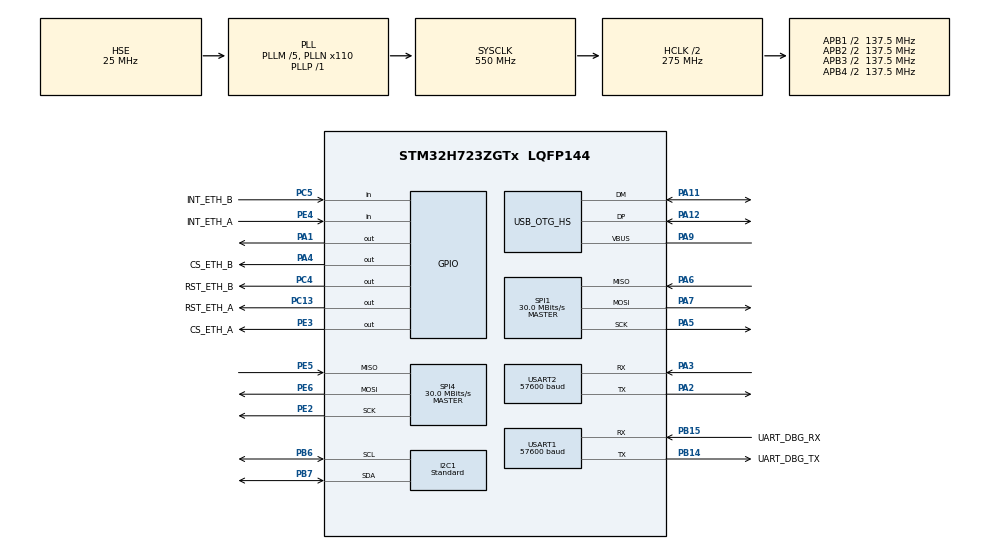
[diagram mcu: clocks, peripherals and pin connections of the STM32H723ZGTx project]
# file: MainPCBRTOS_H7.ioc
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Dma.Request0=USART2_RX
Dma.USART2_RX.0.Direction=DMA_PERIPH_TO_MEMORY
Dma.USART2_RX.0.EventEnable=DISABLE
Dma.USART2_RX.0.FIFOMode=DMA_FIFOMODE_DISABLE
Dma.USART2_RX.0.Instance=DMA1_Stream0
Dma.USART2_RX.0.MemDataAlignment=DMA_MDATAALIGN_BYTE
Dma.USART2_RX.0.MemInc=DMA_MINC_ENABLE
Dma.USART2_RX.0.Mode=DMA_NORMAL
Dma.USART2_RX.0.PeriphDataAlignment=DMA_PDATAALIGN_BYTE
Dma.USART2_RX.0.PeriphInc=DMA_PINC_DISABLE
Dma.USART2_RX.0.Polarity=HAL_DMAMUX_REQ_GEN_RISING
Dma.USART2_RX.0.Priority=DMA_PRIORITY_LOW
Dma.USART2_RX.0.RequestNumber=1
Dma.USART2_RX.0.SignalID=NONE
Dma.USART2_RX.0.SyncEnable=DISABLE
Dma.USART2_RX.0.SyncPolarity=HAL_DMAMUX_SYNC_NO_EVENT
Dma.USART2_RX.0.SyncRequestNumber=1
Dma.USART2_RX.0.SyncSignalID=NONE
FREERTOS.Tasks01=Idle,-3,128,startIdle,Default,NULL,Dynamic,NULL,NULL;LMS,3,8196,startLMS,Default,NULL,Dynamic,NULL,NULL;Humidity,0,512,startHumidity,Default,NULL,Dynamic,NULL,NULL;IO,1,8196,startIO,Default,NULL,Dynamic,NULL,NULL
FREERTOS.configENABLE_FPU=1
FREERTOS.configTOTAL_HEAP_SIZE=80000
FREERTOS.configUSE_NEWLIB_REENTRANT=1
I2C1.I2C_Speed_Mode=I2C_Standard
I2C1.Speed=100
I2C1.Timing=0x20303E5D
IWDG1.Prescaler=IWDG_PRESCALER_256
IWDG1.Reload=1249
IWDG1.Window=1249
Mcu.Family=STM32H7
Mcu.Name=STM32H723ZGTx
Mcu.Package=LQFP144
NVIC.DMA1_Stream0_IRQn=true\:5\:0\:false\:false\:true\:true\:false\:true\:true
NVIC.PriorityGroup=NVIC_PRIORITYGROUP_4
PA1.Signal=GPIO_Output
PA11.Mode=Device_Only_FS
PA11.Signal=USB_OTG_HS_DM
PA12.Mode=Device_Only_FS
PA12.Signal=USB_OTG_HS_DP
PA13(JTMS/SWDIO).Mode=JTAG_5_pins
PA13(JTMS/SWDIO).Signal=DEBUG_JTMS-SWDIO
PA14(JTCK/SWCLK).Mode=JTAG_5_pins
PA14(JTCK/SWCLK).Signal=DEBUG_JTCK-SWCLK
PA15(JTDI).Mode=JTAG_5_pins
PA15(JTDI).Signal=DEBUG_JTDI
PA2.Mode=Asynchronous
PA2.Signal=USART2_TX
PA3.Mode=Asynchronous
PA3.Signal=USART2_RX
PA4.GPIO_Label=CS_ETH_B
PA4.PinState=GPIO_PIN_SET
PA4.Signal=GPIO_Output
PA5.Mode=Full_Duplex_Master
PA5.Signal=SPI1_SCK
PA6.Mode=Full_Duplex_Master
PA6.Signal=SPI1_MISO
PA7.Mode=Full_Duplex_Master
PA7.Signal=SPI1_MOSI
PA9.Mode=Activate_VBUS_FS
PA9.Signal=USB_OTG_HS_VBUS
PB14.GPIO_Label=UART_DBG_TX
PB14.Mode=Asynchronous
PB14.Signal=USART1_TX
PB15.GPIO_Label=UART_DBG_RX
PB15.Mode=Asynchronous
PB15.Signal=USART1_RX
PB3(JTDO/TRACESWO).Mode=JTAG_5_pins
PB3(JTDO/TRACESWO).Signal=DEBUG_JTDO-SWO
PB4(NJTRST).Mode=JTAG_5_pins
PB4(NJTRST).Signal=DEBUG_JTRST
PB6.Mode=I2C
PB6.Signal=I2C1_SCL
PB7.Mode=I2C
PB7.Signal=I2C1_SDA
PC13.GPIO_Label=RST_ETH_A
PC13.PinState=GPIO_PIN_SET
PC13.Signal=GPIO_Output
PC14-OSC32_IN.Mode=LSE-External-Oscillator
PC14-OSC32_IN.Signal=RCC_OSC32_IN
PC15-OSC32_OUT.Mode=LSE-External-Oscillator
PC15-OSC32_OUT.Signal=RCC_OSC32_OUT
PC4.GPIO_Label=RST_ETH_B
PC4.PinState=GPIO_PIN_SET
PC4.Signal=GPIO_Output
PC5.GPIO_Label=INT_ETH_B
PC5.Signal=GPIO_Input
PE2.Mode=Full_Duplex_Master
PE2.Signal=SPI4_SCK
PE3.GPIO_Label=CS_ETH_A
PE3.PinState=GPIO_PIN_SET
PE3.Signal=GPIO_Output
PE4.GPIO_Label=INT_ETH_A
PE4.Signal=GPIO_Input
PE5.Mode=Full_Duplex_Master
PE5.Signal=SPI4_MISO
PE6.Mode=Full_Duplex_Master
PE6.Signal=SPI4_MOSI
PH0-OSC_IN.Mode=HSE-External-Oscillator
PH0-OSC_IN.Signal=RCC_OSC_IN
PH1-OSC_OUT.Mode=HSE-External-Oscillator
PH1-OSC_OUT.Signal=RCC_OSC_OUT
ProjectManager.HeapSize=0x200
ProjectManager.StackSize=0x400
ProjectManager.TargetToolchain=STM32CubeIDE
RCC.ADCFreq_Value=150000000
RCC.APB1Freq_Value=137500000
RCC.APB2Freq_Value=137500000
RCC.APB3Freq_Value=137500000
RCC.APB4Freq_Value=137500000
RCC.CortexFreq_Value=550000000
RCC.D1PPRE=RCC_APB3_DIV2
RCC.D2PPRE1=RCC_APB1_DIV2
RCC.D2PPRE2=RCC_APB2_DIV2
RCC.D3PPRE=RCC_APB4_DIV2
RCC.DIVM1=5
RCC.DIVM2=5
RCC.DIVM3=5
RCC.DIVN1=110
RCC.DIVN2=60
RCC.DIVN3=48
RCC.DIVP1=1
RCC.DIVR3=5
RCC.EnbaleCSS=true
RCC.HCLKFreq_Value=275000000
RCC.HPRE=RCC_HCLK_DIV2
RCC.I2C123CLockSelection=RCC_I2C1235CLKSOURCE_PLL3
RCC.PLLSourceVirtual=RCC_PLLSOURCE_HSE
RCC.RCC_RTC_Clock_Source_FROM_HSE=RCC_RTCCLKSOURCE_HSE_DIV5
RCC.SPI123CLockSelection=RCC_SPI123CLKSOURCE_PLL3
RCC.SYSCLKFreq_VALUE=550000000
RCC.SYSCLKSource=RCC_SYSCLKSOURCE_PLLCLK
RCC.Spi45ClockSelection=RCC_SPI45CLKSOURCE_PLL3
RCC.USBCLockSelection=RCC_USBCLKSOURCE_PLL3
RCC.USBFreq_Value=120000000
RTC.Format=RTC_FORMAT_BIN
RTC.StoreOperation=RTC_STOREOPERATION_RESET
SPI1.BaudRatePrescaler=SPI_BAUDRATEPRESCALER_4
SPI1.CalculateBaudRate=30.0 MBits/s
SPI1.DataSize=SPI_DATASIZE_8BIT
SPI1.Direction=SPI_DIRECTION_2LINES
SPI1.Mode=SPI_MODE_MASTER
SPI1.VirtualType=VM_MASTER
SPI4.BaudRatePrescaler=SPI_BAUDRATEPRESCALER_4
SPI4.CalculateBaudRate=30.0 MBits/s
SPI4.DataSize=SPI_DATASIZE_8BIT
SPI4.Direction=SPI_DIRECTION_2LINES
SPI4.Mode=SPI_MODE_MASTER
SPI4.VirtualType=VM_MASTER
USART1.BaudRate=57600
USART1.VirtualMode-Asynchronous=VM_ASYNC
USART2.BaudRate=57600
USART2.RxPinLevelInvertParam=ADVFEATURE_RXINV_DISABLE
USART2.VirtualMode-Asynchronous=VM_ASYNC
USB_OTG_HS.VirtualMode-Device_Only_FS=Device_Only_FS
VP_FREERTOS_VS_CMSIS_V1.Mode=CMSIS_V1
VP_IWDG1_VS_IWDG.Mode=IWDG_Activate
VP_RTC_VS_RTC_Activate.Mode=RTC_Enabled
VP_RTC_VS_RTC_Calendar.Mode=RTC_Calendar
board=custom

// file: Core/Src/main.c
/* USER CODE BEGIN Header */
/**
 ******************************************************************************
 * @file           : main.c
 * @brief          : Main program body
 ******************************************************************************
 * @attention
 *
 * Copyright (c) 2023 STMicroelectronics.
 * All rights reserved.
 *
 * This software is licensed under terms that can be found in the LICENSE file
 * in the root directory of this software component.
 * If no LICENSE file comes with this software, it is provided AS-IS.
 *
 ******************************************************************************
 */
/* USER CODE END Header */
#include "main.h"
#include "cmsis_os.h"
#include "dma.h"
#include "i2c.h"
#include "iwdg.h"
#include "rtc.h"
#include "spi.h"
#include "usart.h"
#include "usb_otg.h"
#include "gpio.h"

/* USER CODE BEGIN Includes */
#include "defines.h"
#include "variables.h"
#include "socket.h"
#include "wizchip_conf.h"
#include "w5500.h"
#include "w5500_spi.h"
#include <string.h>
#include <stdio.h>
#include <stdlib.h>
#include <math.h>
/* USER CODE END Includes */

/* USER CODE BEGIN PTD */
HAL_StatusTypeDef ret;
/* USER CODE END PTD */

void SystemClock_Config(void);
void PeriphCommonClock_Config(void);
void MX_FREERTOS_Init(void);

int main(void)
{

  /* MCU Configuration--------------------------------------------------------*/

  /* Reset of all peripherals, Initializes the Flash interface and the Systick. */
  HAL_Init();

  /* Configure the system clock */
  SystemClock_Config();

/* Configure the peripherals common clocks */
  PeriphCommonClock_Config();

  /* Initialize all configured peripherals */
  MX_GPIO_Init();
  MX_DMA_Init();
  MX_USART1_UART_Init();
  MX_USART2_UART_Init();
  MX_I2C1_Init();
  MX_SPI1_Init();
  MX_IWDG1_Init();
  MX_RTC_Init();
  MX_SPI4_Init();
  MX_USB_OTG_HS_PCD_Init();

  /* Call init function for freertos objects (in freertos.c) */
  MX_FREERTOS_Init();

  /* Start scheduler */
  osKernelStart();
  /* We should never get here as control is now taken by the scheduler */
  /* Infinite loop */
	while (1)
	{

	}
}

void SystemClock_Config(void)
{
  RCC_OscInitTypeDef RCC_OscInitStruct = {0};
  RCC_ClkInitTypeDef RCC_ClkInitStruct = {0};

  /** Supply configuration update enable
  */
  HAL_PWREx_ConfigSupply(PWR_LDO_SUPPLY);

  /** Configure the main internal regulator output voltage
  */
  __HAL_PWR_VOLTAGESCALING_CONFIG(PWR_REGULATOR_VOLTAGE_SCALE0);

  while(!__HAL_PWR_GET_FLAG(PWR_FLAG_VOSRDY)) {}

  /** Initializes the RCC Oscillators according to the specified parameters
  * in the RCC_OscInitTypeDef structure.
  */
  RCC_OscInitStruct.OscillatorType = RCC_OSCILLATORTYPE_LSI|RCC_OSCILLATORTYPE_HSE;
  RCC_OscInitStruct.HSEState = RCC_HSE_ON;
  RCC_OscInitStruct.LSIState = RCC_LSI_ON;
  RCC_OscInitStruct.PLL.PLLState = RCC_PLL_ON;
  RCC_OscInitStruct.PLL.PLLSource = RCC_PLLSOURCE_HSE;
  RCC_OscInitStruct.PLL.PLLM = 5;
  RCC_OscInitStruct.PLL.PLLN = 110;
  RCC_OscInitStruct.PLL.PLLP = 1;
  RCC_OscInitStruct.PLL.PLLQ = 2;
  RCC_OscInitStruct.PLL.PLLR = 2;
  RCC_OscInitStruct.PLL.PLLRGE = RCC_PLL1VCIRANGE_2;
  RCC_OscInitStruct.PLL.PLLVCOSEL = RCC_PLL1VCOWIDE;
  RCC_OscInitStruct.PLL.PLLFRACN = 0;
  if (HAL_RCC_OscConfig(&RCC_OscInitStruct) != HAL_OK)
  {
    Error_Handler();
  }

  /** Initializes the CPU, AHB and APB buses clocks
  */
  RCC_ClkInitStruct.ClockType = RCC_CLOCKTYPE_HCLK|RCC_CLOCKTYPE_SYSCLK
                              |RCC_CLOCKTYPE_PCLK1|RCC_CLOCKTYPE_PCLK2
                              |RCC_CLOCKTYPE_D3PCLK1|RCC_CLOCKTYPE_D1PCLK1;
  RCC_ClkInitStruct.SYSCLKSource = RCC_SYSCLKSOURCE_PLLCLK;
  RCC_ClkInitStruct.SYSCLKDivider = RCC_SYSCLK_DIV1;
  RCC_ClkInitStruct.AHBCLKDivider = RCC_HCLK_DIV2;
  RCC_ClkInitStruct.APB3CLKDivider = RCC_APB3_DIV2;
  RCC_ClkInitStruct.APB1CLKDivider = RCC_APB1_DIV2;
  RCC_ClkInitStruct.APB2CLKDivider = RCC_APB2_DIV2;
  RCC_ClkInitStruct.APB4CLKDivider = RCC_APB4_DIV2;

  if (HAL_RCC_ClockConfig(&RCC_ClkInitStruct, FLASH_LATENCY_3) != HAL_OK)
  {
    Error_Handler();
  }

  /** Enables the Clock Security System
  */
  HAL_RCC_EnableCSS();
}

void PeriphCommonClock_Config(void)
{
  RCC_PeriphCLKInitTypeDef PeriphClkInitStruct = {0};

  /** Initializes the peripherals clock
  */
  PeriphClkInitStruct.PeriphClockSelection = RCC_PERIPHCLK_USB|RCC_PERIPHCLK_I2C1
                              |RCC_PERIPHCLK_SPI1|RCC_PERIPHCLK_SPI4;
  PeriphClkInitStruct.PLL3.PLL3M = 5;
  PeriphClkInitStruct.PLL3.PLL3N = 48;
  PeriphClkInitStruct.PLL3.PLL3P = 2;
  PeriphClkInitStruct.PLL3.PLL3Q = 2;
  PeriphClkInitStruct.PLL3.PLL3R = 5;
  PeriphClkInitStruct.PLL3.PLL3RGE = RCC_PLL3VCIRANGE_2;
  PeriphClkInitStruct.PLL3.PLL3VCOSEL = RCC_PLL3VCOWIDE;
  PeriphClkInitStruct.PLL3.PLL3FRACN = 0;
  PeriphClkInitStruct.Spi123ClockSelection = RCC_SPI123CLKSOURCE_PLL3;
  PeriphClkInitStruct.Spi45ClockSelection = RCC_SPI45CLKSOURCE_PLL3;
  PeriphClkInitStruct.I2c123ClockSelection = RCC_I2C1235CLKSOURCE_PLL3;
  PeriphClkInitStruct.UsbClockSelection = RCC_USBCLKSOURCE_PLL3;
  if (HAL_RCCEx_PeriphCLKConfig(&PeriphClkInitStruct) != HAL_OK)
  {
    Error_Handler();
  }
}

/* USER CODE BEGIN 4 */
void HAL_UART_RxCpltCallback(UART_HandleTypeDef *huart){
	if(MEASdata_B[0] == 0x0){
		for(short x = 0; x < sizeof(MEASdata_B); x++){
			MEASdata_B[x] = MEASdata_B[x+1];
		}
	}
	sscanf(MEASdata_B, "%[^,]", MEASrecv);
	if((strcmp((char *)MEASrecv, "#MU") == 0))
		sscanf(MEASdata_B, "#MU,%f,%f,%f,%d", &measAmpMax, &measFreq, &measTemp, &humAlertTwo);
	HAL_UART_Receive_DMA(&huart2, (uint8_t *)&MEASdata_B, sizeof(MEASdata_B));
	bzero(MEASdata_B, sizeof(MEASdata_B));
}
/* USER CODE END 4 */

void Error_Handler(void)
{
	__disable_irq();
	while (1)
	{
	}
}

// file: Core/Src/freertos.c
/* USER CODE BEGIN Header */
/**
 ******************************************************************************
 * File Name          : freertos.c
 * Description        : Code for freertos applications
 ******************************************************************************
 * @attention
 *
 * Copyright (c) 2023 STMicroelectronics.
 * All rights reserved.
 *
 * This software is licensed under terms that can be found in the LICENSE file
 * in the root directory of this software component.
 * If no LICENSE file comes with this software, it is provided AS-IS.
 *
 ******************************************************************************
 */
/* USER CODE END Header */

#include "FreeRTOS.h"
#include "task.h"
#include "main.h"
#include "cmsis_os.h"

/* USER CODE BEGIN Includes */
#include "defines.h"
#include "variables.h"
#include "LMS.h"
#include "IO.h"
#include "socket.h"
#include "wizchip_conf.h"
#include "w5500.h"
#include "w5500_spi.h"
#include "FLASH_SECTOR_H7.h"
#include <string.h>
#include <stdio.h>
#include <stdlib.h>
#include <math.h>
/* USER CODE END Includes */

/* USER CODE BEGIN PTD */
extern struct rock rck[MAXROCKS];
extern struct rockBuf rckBuf[MAXROCKS];

extern RTC_TimeTypeDef gTime;
extern RTC_DateTypeDef gDate;
/* USER CODE END PTD */

osThreadId IdleHandle;
osThreadId LMSHandle;
osThreadId HumidityHandle;
osThreadId IOHandle;

void startIdle(void const * argument);
void startLMS(void const * argument);
void startHumidity(void const * argument);
void startIO(void const * argument);

void MX_FREERTOS_Init(void); /* (MISRA C 2004 rule 8.1) */

/* GetIdleTaskMemory prototype (linked to static allocation support) */
void vApplicationGetIdleTaskMemory( StaticTask_t **ppxIdleTaskTCBBuffer, StackType_t **ppxIdleTaskStackBuffer, uint32_t *pulIdleTaskStackSize );

/* USER CODE BEGIN GET_IDLE_TASK_MEMORY */
static StaticTask_t xIdleTaskTCBBuffer;
static StackType_t xIdleStack[configMINIMAL_STACK_SIZE];

void vApplicationGetIdleTaskMemory( StaticTask_t **ppxIdleTaskTCBBuffer, StackType_t **ppxIdleTaskStackBuffer, uint32_t *pulIdleTaskStackSize )
{
	*ppxIdleTaskTCBBuffer = &xIdleTaskTCBBuffer;
	*ppxIdleTaskStackBuffer = &xIdleStack[0];
	*pulIdleTaskStackSize = configMINIMAL_STACK_SIZE;
	/* place for user code */
}
/* USER CODE END GET_IDLE_TASK_MEMORY */

void MX_FREERTOS_Init(void) {
	/* USER CODE BEGIN Init */
	//Start UART
	HAL_UART_Receive_DMA(&huart2, (uint8_t *)&MEASdata_B, sizeof(MEASdata_B));

	//Recover parameters from flash memory
	Flash_Read_Data((uint32_t)FLASH_SPEED, (uint32_t *)&flashRead, 1);
	speed = flashRead[0];
	Flash_Read_Data((uint32_t)FLASH_OUTPUT, (uint32_t *)&flashRead, 1);
	output = flashRead[0];

	//Initialise the W5500 Ethernet controller
	W5500Init();
	HAL_Delay(2000);

	//Initialise humidity module
	if((ret = HAL_I2C_IsDeviceReady(&hi2c1, SHT31_ADDR, 1, HAL_MAX_DELAY)) != HAL_OK){
		//error handler
		for(;;);
	}

	reg_wizchip_cs_cbfunc(LMS_select, LMS_deselect);
	LMS_getDevice();
	LMS_getOutputRange();
	LMS_getFrequencyResolution();

	//Initialise io-server UDP coms
	reg_wizchip_cs_cbfunc(IO_select, IO_deselect);
	if(IO_openSocket() != 0)
		for(;;);
	HAL_Delay(500);
	IO_sendConfiguredParameters();
	IO_close(); //Empty buffer
	HAL_IWDG_Refresh(&hiwdg1);
	/* USER CODE END Init */

	/* Create the thread(s) */
	/* definition and creation of Idle */
	osThreadDef(Idle, startIdle, osPriorityIdle, 0, 128);
	IdleHandle = osThreadCreate(osThread(Idle), NULL);

	/* definition and creation of LMS */
	osThreadDef(LMS, startLMS, osPriorityRealtime, 0, 8196);
	LMSHandle = osThreadCreate(osThread(LMS), NULL);

	/* definition and creation of Humidity */
	osThreadDef(Humidity, startHumidity, osPriorityNormal, 0, 512);
	HumidityHandle = osThreadCreate(osThread(Humidity), NULL);

	/* definition and creation of IO */
	osThreadDef(IO, startIO, osPriorityAboveNormal, 0, 8196);
	IOHandle = osThreadCreate(osThread(IO), NULL);

}

void startIdle(void const * argument)
{
	for(;;)
	{
		osDelay(1);
	}
}

void startLMS(void const * argument)
{
	unsigned char connection = 0;
	/* USER CODE BEGIN startLMS */
	uint16_t LMS_dataAmount = 0;
	/* Infinite loop */
	for(;;){
		if(lock == 0){
			reg_wizchip_cs_cbfunc(LMS_select, LMS_deselect); //Select the LMS WIZCHIP for communicating with the SICK laser
			if(LMS_getOneScan() == EXIT_SUCCESS){ //Get one scan from the LMS
				if(connection == 0){
					connection++;
					LMS_getOutputRange();
					LMS_getFrequencyResolution();
				}
				LMS_dataAmount = LMS_dataSplit(); //Split the raw data and convert into separate integers
				LMS_algorithm(LMS_dataAmount); //Apply the algorithm to differentiate the rocks and determine teh size
				reg_wizchip_cs_cbfunc(IO_select, IO_deselect); //Select the IO WIZCHIP for communicating with the IO-server
				if(output == 1 || output == 2) //Send Polar values to IO-server
					IO_sendPolarData(); //Send Polar values to IO-server
				else if(output == 3) //Send Cartesian values to VOCAM IO-server
					IO_sendCartesianData(); //Send Cartesian values to VOCAM IO-server
				bzero(LMS_calcDataX, sizeof(LMS_calcDataX));
				bzero(LMS_calcDataY, sizeof(LMS_calcDataY));
				bzero(LMS_measData, sizeof(LMS_measData));
			} else {
				connection = 0;
			}
		}
		osDelay(1);
	}
	// In case we accidentally leave loop
	osThreadTerminate(NULL);
	/* USER CODE END startLMS */
}

void startHumidity(void const * argument)
{
	/* USER CODE BEGIN startHumidity */
	uint8_t I2C_recv[6];
	uint8_t I2C_trans[2];
	uint16_t val;

	float hum_rh;

	I2C_trans[0] = 0x2C;
	I2C_trans[1] = 0x06;
	/* Infinite loop */
	for(;;)
	{
		HAL_IWDG_Refresh(&hiwdg1);
		if((ret = HAL_I2C_Master_Transmit(&hi2c1, SHT31_ADDR, I2C_trans, 2, HAL_MAX_DELAY)) != HAL_OK){
			//error handler
			for(;;);
		}
		if((ret = HAL_I2C_Master_Receive(&hi2c1, SHT31_ADDR, I2C_recv, 6, HAL_MAX_DELAY)) != HAL_OK){
			//error handler
			for(;;);
		}
		val = I2C_recv[3] << 8 | I2C_recv[4];
		hum_rh = 100*(val/(pow(2,16)-1));
		if(hum_rh > 75){
			humAlertOne = 1;
		}
		osDelay(500);
	}
	// In case we accidentally leave loop
	osThreadTerminate(NULL);
	/* USER CODE END startHumidity */
}

void startIO(void const * argument)
{
	/* USER CODE BEGIN startIO */
	char NMEArecv[7];

	short tempSpeed = 0;
	unsigned char tempOutput = 0;
	short speedOutputCount = 0;

	/* Infinite loop */
	for(;;)
	{
		HAL_GPIO_WritePin(GPIOA, GPIO_PIN_1, GPIO_PIN_SET);
		vTaskDelay(10);
		HAL_GPIO_WritePin(GPIOA, GPIO_PIN_1, GPIO_PIN_RESET);

		lock = 1;
		reg_wizchip_cs_cbfunc(IO_select, IO_deselect);
		if(output == 0 || output == 2 || output == 3){
			IO_sendMeasurementData();
		}

		IO_recv();
		sscanf(IOrecv_B, "%[^,]", NMEArecv);
		if((strcmp(NMEArecv, "$PVRSCS") == 0)){
			sscanf(IOrecv_B, "%[^,],%d\r\n", NMEArecv, (int *)&tempSpeed);
			speedOutputCount++;
			speed = tempSpeed;
			if(tempSpeed != speed && speedOutputCount >= 500){
				speedOutputCount = 0;
				//Run once for timeout handler
				Flash_Write_NUM(FLASH_SPEED, speed);
				//Save the values in the Flash
				Flash_Write_NUM(FLASH_SPEED, speed);
			}
		} else if((strcmp((char *)NMEArecv, "$PVRSCO") == 0)) {
			sscanf(IOrecv_B, "%[^,],%d\r\n", NMEArecv, (int *)&tempOutput);
			if(tempOutput != output){
				output = tempOutput;
				//Run once for timeout handler
				Flash_Write_NUM(FLASH_OUTPUT, output);
				//Save the values in the Flash
				Flash_Write_NUM(FLASH_OUTPUT, output);
			}
		} else if((strcmp(NMEArecv, "$PVRSCK") == 0)){
			reg_wizchip_cs_cbfunc(LMS_select, LMS_deselect);
			LMS_calibration();
			reg_wizchip_cs_cbfunc(IO_select, IO_deselect);
			IO_close();
		} else if((strcmp(NMEArecv, "$PVRSCC") == 0)){
			reg_wizchip_cs_cbfunc(LMS_select, LMS_deselect);
			LMS_configuration();
			LMS_getOutputRange();
			LMS_getFrequencyResolution();
			reg_wizchip_cs_cbfunc(IO_select, IO_deselect);
			IO_sendConfiguredParameters();
			IO_close();
			bzero(NMEArecv, sizeof(NMEArecv));
			bzero(IOrecv_B, sizeof(IOrecv_B));
		}
		lock = 0;
		osDelay(200);
	}
	// In case we accidentally leave loop
	osThreadTerminate(NULL);
	/* USER CODE END startIO */
}
